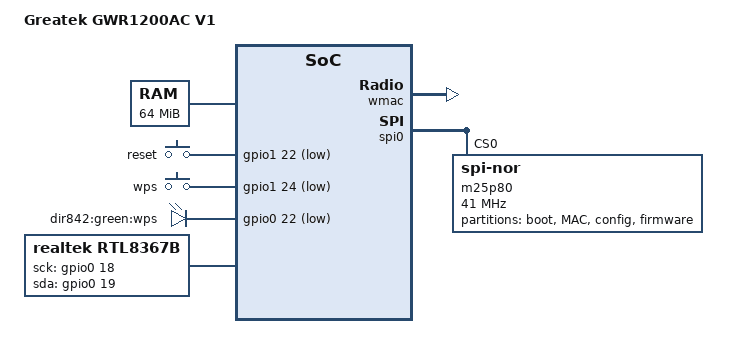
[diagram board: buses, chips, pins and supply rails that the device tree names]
// SPDX-License-Identifier: GPL-2.0
/dts-v1/;

#include "RTL8197F.dtsi"

#include <dt-bindings/gpio/gpio.h>
#include <dt-bindings/input/input.h>

/ {
	compatible = "greatek,gwr1200ac", "realtek,rtl8197f-soc";
	model = "Greatek GWR1200AC V1";

	memory {
		device_type = "memory";
		reg = <0x0 0x4000000>;
	};

	/* ★ Do NOT add a pstore/ramoops carve-out here. An attached ramoops wedges
	 * CPU-originated TX on this board: RX stays healthy while every frame the
	 * box originates is dropped. Without it the same tree passes 15/16 and 6/6.
	 *
	 * ★ The mechanism is NOT known, so there is no "just do it correctly"
	 * version of this. Four ways of doing it correctly were measured, each with
	 * failing hands-off power-cycle trials: withholding the DRAM from the kernel
	 * outright so nothing can overlap it, PSTORE_CONSOLE=n, `unbuffered`, and
	 * relocating the window off the top of DRAM. That set also RETRACTS the
	 * old explanation, still repeated in docs §2, that ramoops merely collides
	 * with driver DMA buffers.
	 *
	 * A /reserved-memory node in particular buys you nothing: arch/mips (4.14)
	 * never selects OF_RESERVED_MEM, so the scan reserves nothing and warns
	 * about nothing -- and forcing it on does not help, because MIPS rebuilds
	 * all memory state in bootmem_init() from boot_mem_map, i.e. from the
	 * /memory node above. (A shrunk /memory plus a /reserved-memory node is a
	 * guaranteed boot BUG() in mark_bootmem().)
	 *
	 * Read docs/COLD-BOOT-TX-WEDGE.md §9 before touching this. §9.8 has the one
	 * experiment that would actually move the question forward.
	 */

	chosen {
		/* R3: hwnat is deliberately NOT enabled here. Measured on hardware: setting
		 * rtl819x.hwnat=1 on the cmdline turns hardware NAT on before the ASIC's L2/L3
		 * tables are warm, and the datapath then fails completely — host<->box was 100%
		 * loss and returned to 0% the instant `echo 0 > .../parameters/hwnat` + a
		 * fabric_reset ran. Same interaction seen earlier when hwnat=1 killed even ICMP
		 * forwarding on a cold ASIC. Offload must be armed AFTER bring-up (gw_prog + L2
		 * warm), so it belongs in the boot script, not the kernel command line — and it
		 * stays off until the WAN->LAN reverse path is fixed, because a sustained
		 * download with offload on wedges the box.
		 * R5: ipv6.disable=1 removed — odhcpd/odhcp6c/ip6tables were already in the
		 * image but inert while v6 was disabled at the kernel. */
		bootargs = "console=ttyS0,38400";
	};

	gpio-keys-polled {
		compatible = "gpio-keys-polled";
		#address-cells = <1>;
		#size-cells = <0>;
		poll-interval = <20>;

		/* R3: all decoded from the stock gpiom.ko `dev_buttons` table
		 * (rootfs lib/modules/gpiom.ko file offset 0x31a0, stride 13:
		 * char name[10]; u8 pin; u8 active_low; u8 bank) and cross-checked
		 * against dev_button_init_hook, which registers them with the vendor
		 * kernel as bank*32+pin = 54/56/36. */
		reset {
			label = "reset";
			gpios = <&gpio1 22 GPIO_ACTIVE_LOW>;	/* vendor 54 */
			linux,code = <KEY_RESTART>;
		};

		wps {
			label = "wps";
			gpios = <&gpio1 24 GPIO_ACTIVE_LOW>;	/* vendor 56 */
			linux,code = <KEY_WPS_BUTTON>;
		};

		/* Stock declares a third button "wifi" at bank1 pin4 (vendor 36).
		 * Left out deliberately: if this unit has no such button the pin may
		 * float and emit spurious KEY_RFKILL, which would toggle the radio at
		 * random. Enable only after confirming the button physically exists.
		 *	rfkill {
		 *		label = "wifi";
		 *		gpios = <&gpio1 4 GPIO_ACTIVE_LOW>;
		 *		linux,code = <KEY_RFKILL>;
		 *	};
		 */
	};

	/*
	 * R3: LEDs. This node used to be commented out as "Breaks device switch".
	 * ★ ROOT CAUSE FOUND — it was on the WRONG PIN. It used <&gpio1 25>, which is
	 * not the WPS LED and has no use anywhere in the stock firmware; it sits ONE
	 * PIN away from <&gpio1 26>, the RTL8367S hardware reset (vendor gpio 58,
	 * global 474, pulsed low/high by the vendor's rtl865x_initAsicL2 @0x80198294).
	 * Driving or disturbing that line holds the external switch in reset, which is
	 * exactly the "breaks the switch" symptom. There is a second mechanism with the
	 * same effect: bgpio_set() writes the whole cached 32-bit DAT word, and the
	 * cache is snapshotted once in bgpio_init(), so ANY LED write on gpio1 rewrites
	 * bit 26 from that stale snapshot.
	 *
	 * The real WPS LED is <&gpio0 22>, ACTIVE_LOW — a different bank entirely, so
	 * both the off-by-one and the shared-DAT-word hazard go away. Decoded from
	 * gpiom.ko `dev_leds` (file offset 0x3150, stride 20) and confirmed by
	 * dev_led_init_hook calling rtl819x_gpio_register_led(22, active_low=1) ->
	 * gpio_request_one(22, GPIOF_OUT_INIT_HIGH|GPIOF_EXPORT), i.e. initialised HIGH
	 * = off, driven LOW to light.
	 *
	 * Conflict check (the reason this is safe to enable): the pins that drive the
	 * external switch are gpio0 18 (SMI MDC), gpio0 19 (SMI MDIO) and gpio1 26
	 * (8367S reset). None of the nodes here touch any of them.
	 *
	 * Only WPS is here because it is the ONLY software-controllable LED on this
	 * board. LAN/WAN/Internet are driven by the switch/PHY LED controller (stock
	 * writes a pattern into bits [11:8] of 0xB8003504, not the GPIO DAT register)
	 * and the power LED has no GPIO at all — its libdhal.so entry points are
	 * do-nothing stubs. Two 2.4 GHz WLAN LED candidates exist (<&gpio1 1> and
	 * <&gpio0 24>) but the stock code selects between them on a chip-ID test that
	 * could not be resolved for this board, so they are NOT declared here.
	 *
	 * ⚠ Still needs one visual check: the pin and polarity are confirmed from the
	 * binary, but the panel COLOUR in the label is assumed to be green.
	 */
	gpio-leds {
		compatible = "gpio-leds";

		wps {
			label = "dir842:green:wps";
			gpios = <&gpio0 22 GPIO_ACTIVE_LOW>;	/* vendor 22 */
		};
	};

	/* External RTL8367S 5-port gigabit switch, managed over bit-banged SMI
	 * (MDC=GPIO18, MDIO=GPIO19 on gpio0). Hardware-confirmed: the RGMII uplink
	 * to the SoC is the switch's EXT1 (port 6, forced 1000/full, flow-control)
	 * — NOT EXT0. cpu_port = 6 so the driver's per-port VLANs bridge each jack
	 * to the live uplink. WAN jack = port 4, LAN jacks = ports 0-3. The RGMII
	 * itself is left in its (working) power-on config — the 8367S ext-interface
	 * registers differ from the 8367R-VB, so the driver skips extif/reset for
	 * this chip (see rtl8367b_is_8367s); extif1 is kept only for documentation. */
	rtl8367b {
		compatible = "realtek,rtl8367b";
		cpu_port = <6>;
		realtek,extif1 = <1 0 1 1 1 1 1 1 2>;
		gpio-sck = <&gpio0 18 GPIO_ACTIVE_HIGH>;
		gpio-sda = <&gpio0 19 GPIO_ACTIVE_HIGH>;
	};

};

/* R4/G2: enable the on-SoC 2.4 GHz WMAC so the bring-up driver can probe it.
 * See RTL8197F.dtsi for the full decode (base 0x18640000, IRQ 6, and the
 * SR+0x64 enable gate). ⚠ This does NOT give you 2.4 GHz WiFi yet: the driver
 * probes the block, lifts the gate and verifies the register window responds,
 * but performs no PHY/RF init and does not register with mac80211. It is safe
 * to leave enabled — pcie1, which shares cpuintc IRQ 6, stays disabled. */
&wmac {
	status = "okay";
};

&gpio0 {
	status = "okay";
};

&gpio1 {
	status = "okay";
};

&spi0 {
	status = "okay";

	m25p80@0 {
		#address-cells = <1>;
		#size-cells = <1>;
		compatible = "jedec,spi-nor";
		reg = <0>;
		spi-max-frequency = <41000000>;

		/* DIR-842 stock flash map (matches the RTL8197F v3.4.11B loader,
		 * which scans 0x10000..0x40000 and boots the cr6b blob at 0x40000):
		 * boot(128K) + MAC(64K) + config(64K), then the kernel+rootfs
		 * firmware region at 0x40000. boot+MAC are read-only (sacred loader
		 * and per-device MAC/RF-calibration). */
		partition@0 {
			label = "boot";
			reg = <0x0 0x20000>;
			read-only;
		};

		partition@20000 {
			label = "MAC";
			reg = <0x20000 0x10000>;
			read-only;
		};

		partition@30000 {
			label = "config";
			reg = <0x30000 0x10000>;
		};

		partition@40000 {
			label = "firmware";
			reg = <0x40000 0x7b0000>;
		};
	};
};
